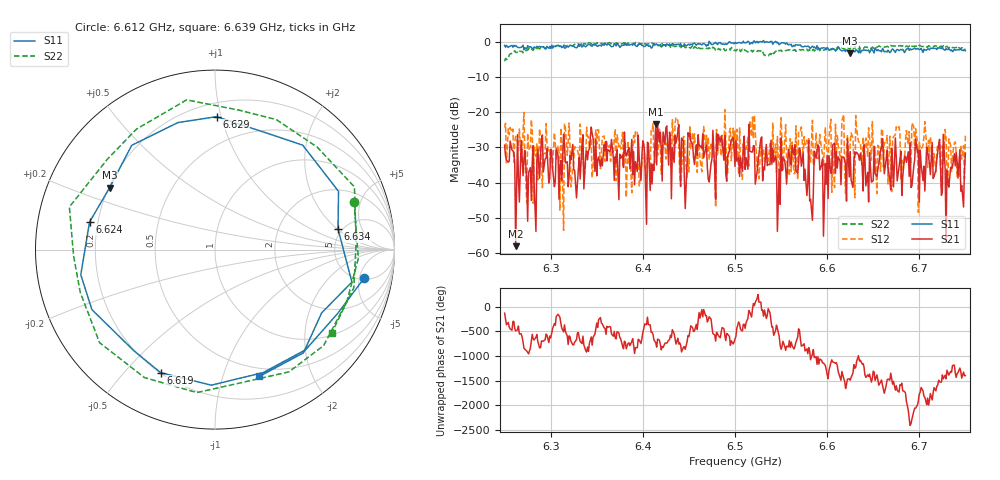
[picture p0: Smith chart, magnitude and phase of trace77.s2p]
# Hz S RI R 50
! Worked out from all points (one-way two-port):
!   401 points, 6.25 GHz to 6.75 GHz, reference 50 ohm
!   highest |S21| = -23.31 dB at 6.414 GHz (marker M1); lowest = -58.0 dB at 6.262 GHz (marker M2)
!   lowest |S11| = -3.3 dB at 6.625 GHz (marker M3), VSWR 5.27, Z = 10.2 + j13 ohm
!   |S11| at or under -10 dB: nowhere
!   |S22| runs from -5.6 to 0.0 dB; largest |S21 - S12| = 0.13
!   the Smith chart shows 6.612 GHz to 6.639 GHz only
!   S11 on the Smith chart (normalised r, x): 6.612 GHz: 5.32, -5.93; 6.619 GHz: 0.20, -0.63; 6.624 GHz: 0.17, +0.11; 6.629 GHz: 0.29, +0.97; 6.634 GHz: 4.62, +2.04; 6.639 GHz: 0.41, -1.33
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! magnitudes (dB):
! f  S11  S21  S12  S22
! 6.25 GHz  -1.1  -29.3  -24.3  -5.6
! 6.262 GHz  -1.1  -58.0  -26.8  -3.1
! 6.334 GHz  -1.5  -29.3  -33.8  -0.4
! 6.414 GHz  -0.9  -23.3  -34.3  -0.6
! 6.418 GHz  -1.1  -28.5  -24.8  -1.2
! 6.5 GHz  -0.2  -35.4  -25.3  -2.4
! 6.546 GHz  -0.2  -53.8  -26.9  -3.0
! 6.571 GHz  -1.0  -31.3  -25.2  -2.4
! 6.584 GHz  -1.3  -50.6  -22.3  -2.5
! 6.589 GHz  -1.2  -31.0  -31.1  -2.5
! 6.599 GHz  -2.2  -40.4  -29.2  -2.3
! 6.612 GHz  -1.4  -32.6  -29.5  -1.7
! 6.619 GHz  -2.5  -33.6  -36.9  -2.4
! 6.624 GHz  -2.9  -38.3  -35.7  -2.1
! 6.625 GHz  -3.3  -31.2  -28.5  -2.1
! 6.629 GHz  -2.6  -34.0  -34.2  -1.9
! 6.634 GHz  -3.2  -32.1  -28.3  -1.9
! 6.639 GHz  -2.5  -42.3  -27.0  -1.9
! 6.668 GHz  -3.2  -39.1  -26.8  -1.5
! 6.676 GHz  -2.2  -39.5  -24.8  -1.4
! 6.682 GHz  -2.2  -38.4  -36.2  -1.2
! 6.75 GHz  -2.6  -31.6  -26.6  -2.2
